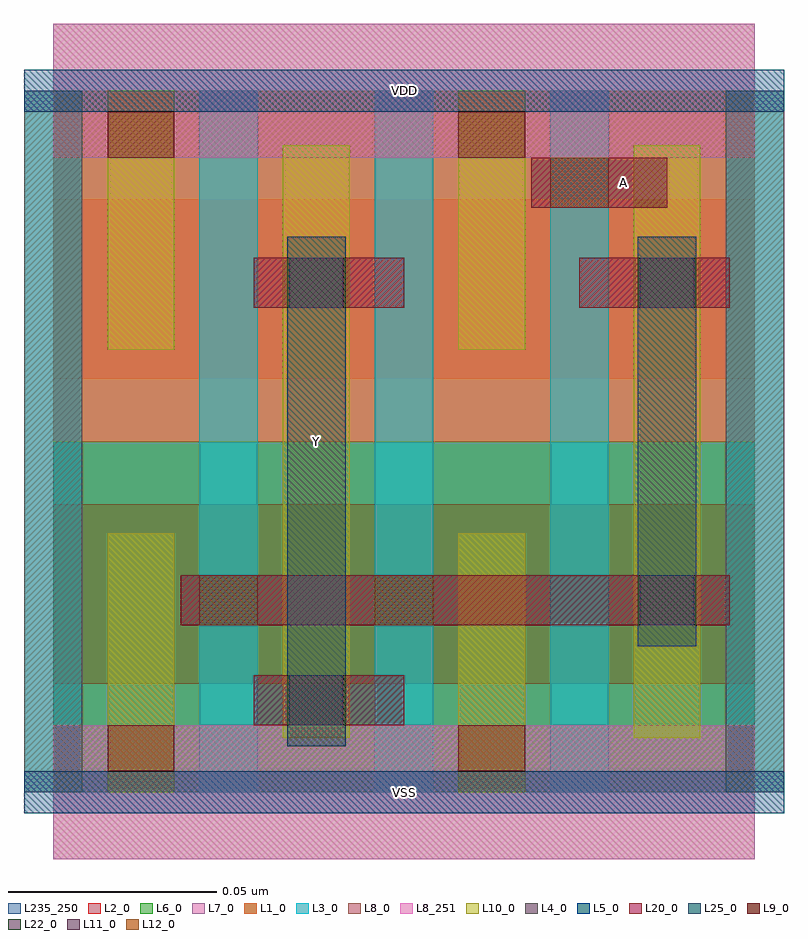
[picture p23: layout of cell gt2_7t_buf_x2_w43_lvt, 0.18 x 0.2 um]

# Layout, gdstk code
import gdstk
lib = gdstk.Library(unit=1e-6, precision=5e-10)
def R(c, l, rs):  # rectangles x0, y0, x1, y1
    for r in rs: c.add(gdstk.rectangle(r[:2], r[2:], *l))
def A(c, l, x, y, w, h, nx, ny, dx, dy):  # array of equal rectangles
    R(c, l, [(x+i*dx, y+j*dy, x+i*dx+w, y+j*dy+h) for i in range(nx) for j in range(ny)])
L1_0 = (1, 0)
L2_0 = (2, 0)
L3_0 = (3, 0)
L4_0 = (4, 0)
L5_0 = (5, 0)
L6_0 = (6, 0)
L7_0 = (7, 0)
L8_0 = (8, 0)
L8_251 = (8, 251)
L9_0 = (9, 0)
L10_0 = (10, 0)
L11_0 = (11, 0)
L12_0 = (12, 0)
L20_0 = (20, 0)
L22_0 = (22, 0)
L25_0 = (25, 0)
L235_250 = (235, 250)

gt2_7t_buf_x2_w43_lvt = lib.new_cell('gt2_7t_buf_x2_w43_lvt')
R(gt2_7t_buf_x2_w43_lvt, L1_0, [(0,0.084,0.168,0.168)])
R(gt2_7t_buf_x2_w43_lvt, L2_0, [(0,0.026,0.168,0.069), (0,0.099,0.168,0.142)])
A(gt2_7t_buf_x2_w43_lvt, L3_0, -0.007, 0, 0.014, 0.168, 5, 1, 0.042, 0)
R(gt2_7t_buf_x2_w43_lvt, L4_0, [(-0.007,0,0.007,0.168), (0.161,0,0.175,0.168)])
R(gt2_7t_buf_x2_w43_lvt, L5_0, [(-0.007,-0.005,0.175,0.005), (-0.007,0.163,0.175,0.173)])
R(gt2_7t_buf_x2_w43_lvt, L6_0, [(0,0,0.168,0.084)])
R(gt2_7t_buf_x2_w43_lvt, L7_0, [(0,0.084,0.168,0.168)])
R(gt2_7t_buf_x2_w43_lvt, L8_0, [(0,-0.016,0.168,0.016), (0,0.152,0.168,0.184)])
R(gt2_7t_buf_x2_w43_lvt, L8_251, [(0,-0.016,0.168,0.016), (0,0.152,0.168,0.184)])
R(gt2_7t_buf_x2_w43_lvt, L9_0, [(0.013,0.005,0.029,0.016), (0.097,0.005,0.113,0.016), (0.013,0.152,0.029,0.163), (0.097,0.152,0.113,0.163)])
R(gt2_7t_buf_x2_w43_lvt, L10_0, [(0.013,0,0.029,0.062), (0.097,0,0.113,0.062), (0.055,0.013,0.071,0.155), (0.139,0.013,0.155,0.155), (0.013,0.106,0.029,0.168), (0.097,0.106,0.113,0.168)])
R(gt2_7t_buf_x2_w43_lvt, L11_0, [(0.0565,0.016,0.0695,0.028), (0.1405,0.04,0.1535,0.052), (0.0565,0.116,0.0695,0.128), (0.1405,0.116,0.1535,0.128)])
R(gt2_7t_buf_x2_w43_lvt, L12_0, [(0.035,0.04,0.049,0.052), (0.077,0.04,0.091,0.052), (0.119,0.14,0.133,0.152)])
R(gt2_7t_buf_x2_w43_lvt, L20_0, [(0.048,0.016,0.084,0.028), (0.0305,0.04,0.162,0.052), (0.048,0.116,0.084,0.128), (0.126,0.116,0.162,0.128), (0.1145,0.14,0.147,0.152)])
R(gt2_7t_buf_x2_w43_lvt, L22_0, [(0.056,0.016,0.07,0.028), (0.14,0.04,0.154,0.052), (0.056,0.116,0.07,0.128), (0.14,0.116,0.154,0.128)])
R(gt2_7t_buf_x2_w43_lvt, L25_0, [(0.056,0.011,0.07,0.133), (0.14,0.035,0.154,0.133)])
R(gt2_7t_buf_x2_w43_lvt, L235_250, [(0,0,0.168,0.168)])
gt2_7t_buf_x2_w43_lvt.add(gdstk.Label('VSS', (0.084,0), layer=8, texttype=251))
gt2_7t_buf_x2_w43_lvt.add(gdstk.Label('VDD', (0.084,0.168), layer=8, texttype=251))
gt2_7t_buf_x2_w43_lvt.add(gdstk.Label('A', (0.1365,0.146), layer=20, texttype=251))
gt2_7t_buf_x2_w43_lvt.add(gdstk.Label('Y', (0.063,0.084), layer=25, texttype=251))

lib.write_gds('gt2_7t_buf_x2_w43_lvt.gds')
